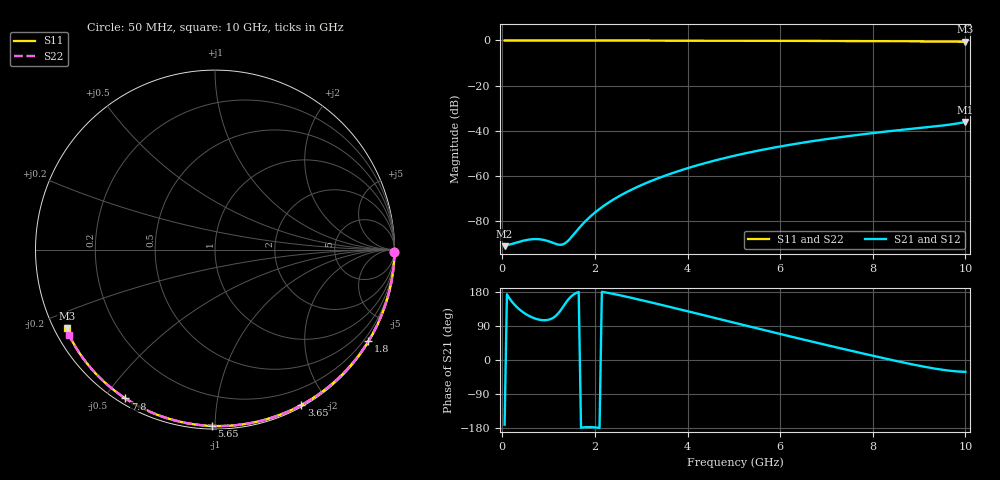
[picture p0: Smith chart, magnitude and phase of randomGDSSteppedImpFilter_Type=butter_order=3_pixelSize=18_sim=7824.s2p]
! freq	dB(S11)	phase(S11)	dB(S12)	phase(S12)
!  dB(S21)	phase(S21)	dB(S22)	phase(S22)
!S-par simulation data
#  GHz  S  DB  R 50
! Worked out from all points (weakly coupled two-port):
!   200 points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, 50 MHz to 10 GHz, reference 50 ohm
!   highest |S21| = -36.11 dB at 10 GHz (marker M1); lowest = -91.1 dB at 50 MHz (marker M2)
!   lowest |S11| = -0.6 dB at 10 GHz (marker M3), VSWR 29.84, Z = 1.78 - j12.5 ohm
!   |S11| at or under -10 dB: nowhere
!   |S22| runs from -0.5 to 0.0 dB; largest |S21 - S12| = 0
!   S11 on the Smith chart (normalised r, x): 50 MHz: open; 1.8 GHz: 0.03, -3.62; 3.65 GHz: 0.02, -1.70; 5.65 GHz: 0.02, -0.98; 7.8 GHz: 0.02, -0.57; 10 GHz: 0.04, -0.25
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0.05  -0.00 -0.9  -91.14 -170.5  -91.14 -170.5  -0.00 -0.9
0.85  -0.02 -14.7  -88.20 105.4  -88.20 105.4  -0.02 -14.7
1.3  -0.03 -22.4  -90.40 138.2  -90.40 138.2  -0.03 -22.3
1.75  -0.04 -30.0  -81.04 -177.8  -81.04 -177.8  -0.04 -29.9
1.8  -0.04 -30.9  -79.98 -177.2  -79.98 -177.2  -0.04 -30.8
1.95  -0.04 -33.4  -77.12 -177.3  -77.12 -177.3  -0.04 -33.3
2.1  -0.05 -35.9  -74.64 -179.2  -74.64 -179.2  -0.05 -35.7
2.25  -0.05 -38.4  -72.44 177.8  -72.44 177.8  -0.05 -38.2
2.45  -0.05 -41.7  -69.85 173.1  -69.85 173.1  -0.05 -41.5
2.9  -0.06 -49.0  -65.04 160.9  -65.04 160.9  -0.06 -48.8
3.4  -0.08 -57.0  -60.77 146.5  -60.77 146.5  -0.08 -56.8
3.65  -0.08 -61.0  -58.93 139.1  -58.93 139.1  -0.08 -60.7
4.3  -0.10 -71.1  -54.79 119.8  -54.79 119.8  -0.10 -70.7
5.05  -0.13 -82.3  -50.89 97.2  -50.89 97.2  -0.13 -81.9
5.65  -0.15 -91.1  -48.30 79.1  -48.30 79.1  -0.15 -90.7
6.15  -0.18 -98.2  -46.43 64.2  -46.43 64.2  -0.18 -97.7
6.7  -0.21 -105.9  -44.61 48.1  -44.61 48.1  -0.21 -105.4
7.8  -0.28 -121.0  -41.53 16.8  -41.53 16.8  -0.28 -120.3
8.35  -0.33 -128.5  -40.21 1.6  -40.21 1.6  -0.33 -127.7
9.3  -0.43 -141.5  -38.16 -21.9  -38.16 -21.9  -0.42 -140.3
9.7  -0.50 -147.3  -37.17 -28.8  -37.17 -28.8  -0.47 -145.5
10  -0.58 -152.0  -36.11 -31.3  -36.11 -31.3  -0.50 -149.5
